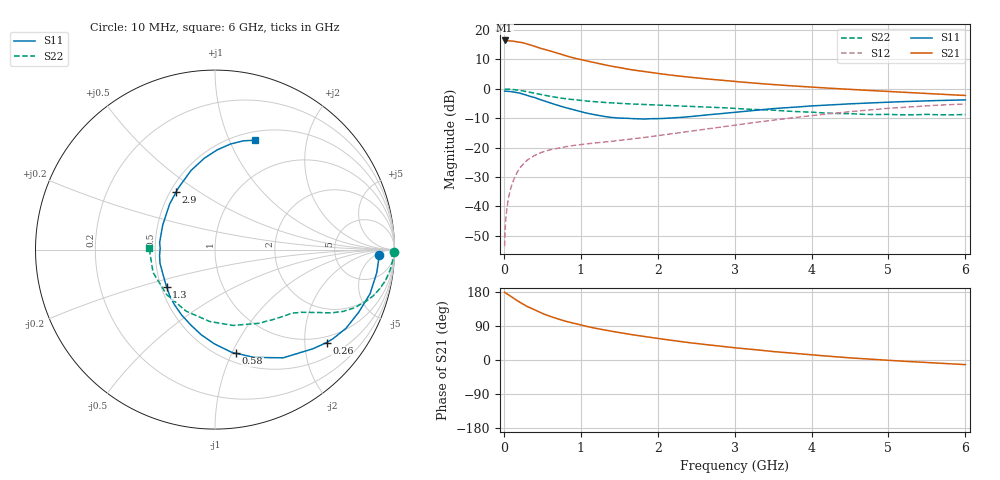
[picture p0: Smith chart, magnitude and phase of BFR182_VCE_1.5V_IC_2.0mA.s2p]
! Infineon Technologies  Discrete & RF Semiconductors
! BFR182
! VCE =  1.5 V,  IC =  2.0 mA
! Common Emitter S-Parameters:  Nov 2015
# GHz  S  MA  R  50
!  f  S11  S21  S12  S22
! GHz  MAG  ANG  MAG  ANG  MAG  ANG  MAG  ANG
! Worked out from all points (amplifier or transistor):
!   210 points, 10 MHz to 6 GHz, reference 50 ohm
!   highest |S21| = 16.5 dB at 10 MHz (marker M1)
!   |S21| within 3 dB of that: start of sweep to 521.7 MHz
!   unconditionally stable (mu >= 1): 1.435 GHz to 3.196 GHz
!   at 185 MHz: K = 0.18, MSG = 21.9 dB, |S12| = -27.9 dB
!   at 1.52 GHz: K = 1.03, MAG = 11.4 dB, |S12| = -17.5 dB
!   at 6 GHz: K = 0.91, MSG = 1.4 dB, |S12| = -5.1 dB
!   S11 on the Smith chart (normalised r, x): 10 MHz: 20, -7; 260 MHz: 0.84, -2.52; 580 MHz: 0.59, -1.04; 1.3 GHz: 0.53, -0.25; 2.9 GHz: 0.54, +0.41; 6 GHz: 0.59, +1.25
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0.01  0.9156 -1.8  6.666 178.9  0.0021 85.6  0.996 -0.8
0.02  0.9139 -3.2  6.611 177.2  0.0047 89.2  0.9851 -1.4
0.03  0.912 -4.8  6.594 175.9  0.0069 88.0  0.9873 -2.1
0.075  0.9024 -11.9  6.56 170.1  0.0169 82.9  0.9866 -5.1
0.1  0.8984 -15.8  6.572 166.9  0.0225 80.8  0.9819 -6.8
0.15  0.8734 -23.6  6.38 159.5  0.0331 75.9  0.965 -10.3
0.26  0.8091 -39.8  6.038 146.1  0.054 68.0  0.9152 -16.6
0.3  0.7756 -45.5  5.829 141.5  0.0605 65.7  0.8929 -18.6
0.4  0.7125 -57.8  5.301 132.3  0.0735 59.7  0.8429 -22.6
0.5  0.6392 -70.0  4.808 122.6  0.0839 55.4  0.7939 -25.7
0.58  0.5898 -78.5  4.5 116.6  0.0902 52.8  0.7569 -27.5
0.7  0.525 -90.4  4.041 108.4  0.0976 50.1  0.7094 -29.8
0.8  0.4806 -99.2  3.675 102.4  0.1033 48.3  0.6786 -31.1
1.02  0.4031 -118.7  3.108 91.2  0.1133 46.8  0.6312 -33.6
1.3  0.3404 -142.4  2.581 79.6  0.1242 47.4  0.5875 -36.4
1.6  0.3159 -165.9  2.175 68.8  0.1371 49.3  0.5571 -39.5
2.02  0.3116 164.7  1.819 56.3  0.1608 52.0  0.5294 -44.8
2.9  0.3872 124.0  1.375 34.6  0.2312 54.1  0.4725 -60.6
3.1  0.4096 117.7  1.303 30.4  0.251 53.3  0.4564 -65.4
4.1  0.5202 95.0  1.051 12.0  0.3618 45.9  0.3931 -98.1
5.1  0.6001 80.4  0.887 -2.2  0.4759 33.1  0.3634 -141.6
6  0.6491 69.8  0.772 -12.2  0.5538 18.8  0.367 178.4
